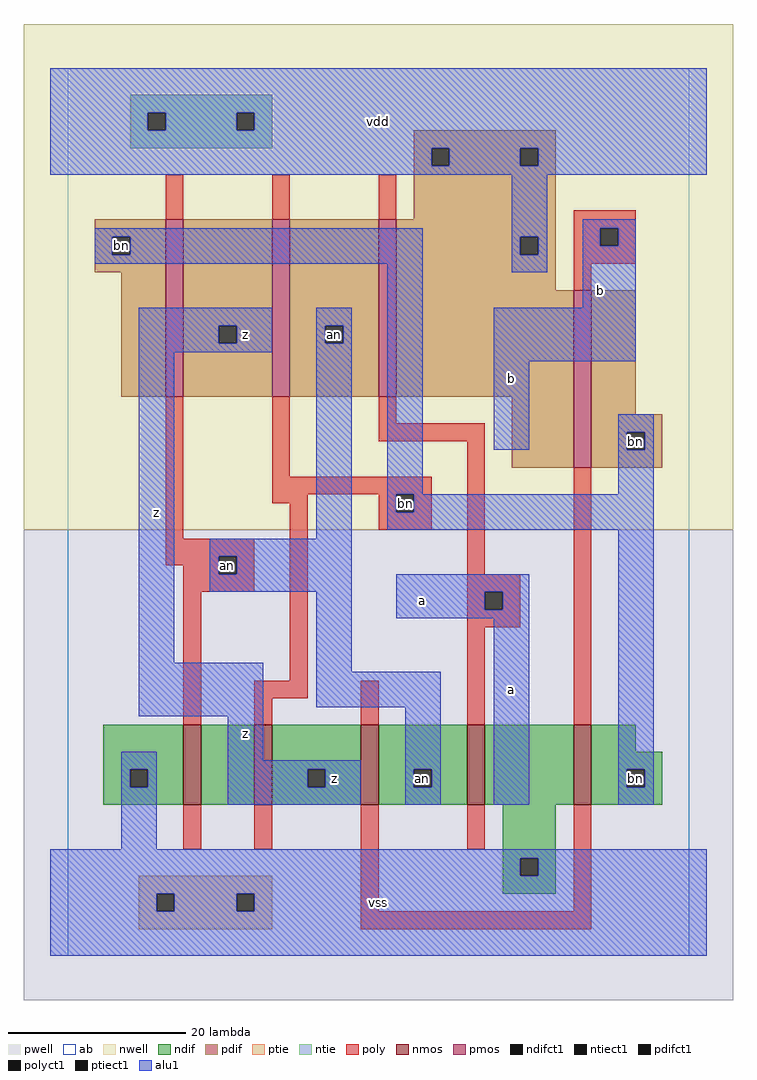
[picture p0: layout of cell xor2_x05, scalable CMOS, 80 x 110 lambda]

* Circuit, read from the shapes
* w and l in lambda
.subckt xor2_x05 a an b bn vdd vss z
M1 n1 an vss vss nfet w=9 l=2
M2 z bn n1 vss nfet w=9 l=2
M3 an b z vss nfet w=9 l=2
M4 vss a an vss nfet w=9 l=2
M5 bn b vss vss nfet w=9 l=2
M6 z an bn vdd pfet w=20 l=2
M7 an bn z vdd pfet w=20 l=2
M8 vdd a an vdd pfet w=20 l=2
M9 bn b vdd vdd pfet w=20 l=2
.ends

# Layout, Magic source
magic
tech scmos
<< ab >>
rect 0 0 70 100
<< nwell >>
rect -5 48 75 105
<< pwell >>
rect -5 -5 75 48
<< poly >>
rect 11 83 13 88
rect 23 83 25 88
rect 35 83 37 88
rect 57 82 64 84
rect 57 80 60 82
rect 62 80 64 82
rect 57 78 64 80
rect 57 75 59 78
rect 11 47 13 63
rect 23 54 25 63
rect 35 60 37 63
rect 35 58 47 60
rect 23 52 41 54
rect 23 51 27 52
rect 11 45 21 47
rect 11 44 17 45
rect 13 43 17 44
rect 19 43 21 45
rect 13 41 21 43
rect 13 26 15 41
rect 25 31 27 51
rect 35 50 37 52
rect 39 50 41 52
rect 35 48 41 50
rect 45 43 47 58
rect 45 41 51 43
rect 45 39 47 41
rect 49 39 51 41
rect 45 37 51 39
rect 21 29 27 31
rect 21 26 23 29
rect 33 26 35 31
rect 45 26 47 37
rect 57 26 59 55
rect 13 12 15 17
rect 21 12 23 17
rect 33 5 35 17
rect 45 12 47 17
rect 57 5 59 17
rect 33 3 59 5
<< ndif >>
rect 4 21 13 26
rect 4 19 7 21
rect 9 19 13 21
rect 4 17 13 19
rect 15 17 21 26
rect 23 21 33 26
rect 23 19 27 21
rect 29 19 33 21
rect 23 17 33 19
rect 35 21 45 26
rect 35 19 39 21
rect 41 19 45 21
rect 35 17 45 19
rect 47 17 57 26
rect 59 23 64 26
rect 59 21 67 23
rect 59 19 63 21
rect 65 19 67 21
rect 59 17 67 19
rect 49 11 55 17
rect 49 9 51 11
rect 53 9 55 11
rect 49 7 55 9
<< pdif >>
rect 39 91 55 93
rect 39 89 41 91
rect 43 89 51 91
rect 53 89 55 91
rect 39 83 55 89
rect 3 81 11 83
rect 3 79 5 81
rect 7 79 11 81
rect 3 77 11 79
rect 6 63 11 77
rect 13 71 23 83
rect 13 69 17 71
rect 19 69 23 71
rect 13 63 23 69
rect 25 71 35 83
rect 25 69 29 71
rect 31 69 35 71
rect 25 63 35 69
rect 37 81 55 83
rect 37 79 51 81
rect 53 79 55 81
rect 37 75 55 79
rect 37 63 57 75
rect 50 55 57 63
rect 59 61 64 75
rect 59 59 67 61
rect 59 57 63 59
rect 65 57 67 59
rect 59 55 67 57
<< alu1 >>
rect -2 95 72 100
rect -2 93 9 95
rect 11 93 19 95
rect 21 93 72 95
rect -2 91 72 93
rect -2 89 41 91
rect 43 89 51 91
rect 53 89 72 91
rect -2 88 72 89
rect 3 81 40 82
rect 3 79 5 81
rect 7 79 40 81
rect 3 78 40 79
rect 8 71 23 73
rect 8 69 17 71
rect 19 69 23 71
rect 8 68 23 69
rect 28 71 32 73
rect 28 69 29 71
rect 31 69 32 71
rect 8 33 12 68
rect 28 47 32 69
rect 36 52 40 78
rect 50 81 54 88
rect 50 79 51 81
rect 53 79 54 81
rect 50 77 54 79
rect 58 82 64 83
rect 58 80 60 82
rect 62 80 64 82
rect 58 73 64 80
rect 48 67 64 73
rect 48 57 52 67
rect 62 59 66 61
rect 62 57 63 59
rect 65 57 66 59
rect 62 52 66 57
rect 36 50 37 52
rect 39 50 66 52
rect 36 48 66 50
rect 16 45 32 47
rect 16 43 17 45
rect 19 43 32 45
rect 16 41 32 43
rect 8 27 22 33
rect 28 32 32 41
rect 37 41 52 43
rect 37 39 47 41
rect 49 39 52 41
rect 37 38 52 39
rect 28 28 42 32
rect 6 21 10 23
rect 6 19 7 21
rect 9 19 10 21
rect 6 12 10 19
rect 18 22 22 27
rect 18 21 33 22
rect 18 19 27 21
rect 29 19 33 21
rect 18 17 33 19
rect 38 21 42 28
rect 38 19 39 21
rect 41 19 42 21
rect 38 17 42 19
rect 48 17 52 38
rect 62 21 66 48
rect 62 19 63 21
rect 65 19 66 21
rect 62 17 66 19
rect -2 11 72 12
rect -2 9 51 11
rect 53 9 72 11
rect -2 7 72 9
rect -2 5 10 7
rect 12 5 19 7
rect 21 5 72 7
rect -2 0 72 5
<< ptie >>
rect 8 7 23 9
rect 8 5 10 7
rect 12 5 19 7
rect 21 5 23 7
rect 8 3 23 5
<< ntie >>
rect 7 95 23 97
rect 7 93 9 95
rect 11 93 19 95
rect 21 93 23 95
rect 7 91 23 93
<< nmos >>
rect 13 17 15 26
rect 21 17 23 26
rect 33 17 35 26
rect 45 17 47 26
rect 57 17 59 26
<< pmos >>
rect 11 63 13 83
rect 23 63 25 83
rect 35 63 37 83
rect 57 55 59 75
<< polyct1 >>
rect 60 80 62 82
rect 17 43 19 45
rect 37 50 39 52
rect 47 39 49 41
<< ndifct1 >>
rect 7 19 9 21
rect 27 19 29 21
rect 39 19 41 21
rect 63 19 65 21
rect 51 9 53 11
<< ntiect1 >>
rect 9 93 11 95
rect 19 93 21 95
<< ptiect1 >>
rect 10 5 12 7
rect 19 5 21 7
<< pdifct1 >>
rect 41 89 43 91
rect 51 89 53 91
rect 5 79 7 81
rect 17 69 19 71
rect 29 69 31 71
rect 51 79 53 81
rect 63 57 65 59
<< labels >>
rlabel polyct1 18 44 18 44 6 an
rlabel pdifct1 6 80 6 80 6 bn
rlabel ndifct1 40 20 40 20 6 an
rlabel polyct1 38 51 38 51 6 bn
rlabel pdifct1 30 70 30 70 6 an
rlabel ndifct1 64 20 64 20 6 bn
rlabel pdifct1 64 58 64 58 6 bn
rlabel alu1 10 50 10 50 6 z
rlabel alu1 30 20 30 20 6 z
rlabel alu1 20 25 20 25 6 z
rlabel alu1 20 70 20 70 6 z
rlabel alu1 35 6 35 6 6 vss
rlabel alu1 50 30 50 30 6 a
rlabel alu1 40 40 40 40 6 a
rlabel alu1 50 65 50 65 6 b
rlabel alu1 35 94 35 94 6 vdd
rlabel alu1 60 75 60 75 6 b
<< end >>
